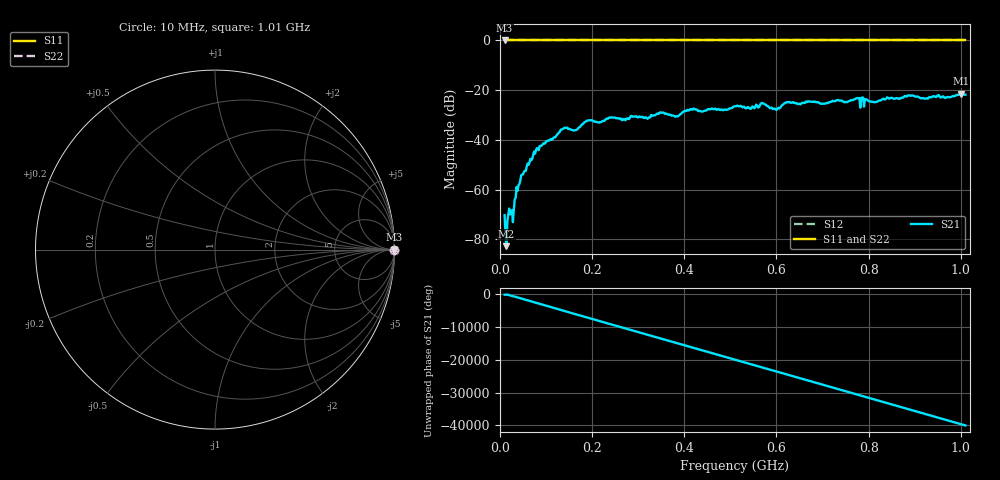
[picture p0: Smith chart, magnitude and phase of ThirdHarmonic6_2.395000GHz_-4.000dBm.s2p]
! 8/17/2025 3:54:33 AM
! C:\ANRITSUVNA\TEMP\TEMP.S2P
! CHANNEL.1
! TR.MEASUREMENT
! RAW.DATA
! RF.CORRECTION.OFF
! AVERAGING.OFF
! IF.BANDWIDTH: 5KHZ
! SWEEPTYPE:  FREQ.SWEEP(Linear)
! Reference Plane Port Info
! PORT:  PORT1  PORT2
! DISTANCE:  0  m  0  m
! TIME:  0  s  0  s
! PHASE.OFFSET:  0  deg.  0  deg.
! LOSS:  0  dB  0  dB
! REF.LOSS:  0  dB  0  dB
! REF.FREQ:  0  Hz  0  Hz
! Power Info
! POWER:  -20  dBm  -20  dBm
! EFF.POWER:  -20  dBm  -20  dBm
! SOURCE.ATTEN:  0  dB  0  dB
! TEST.ATTEN:  0  dB  0  dB
# GHZ S RI R 50.0
! FREQ.GHZ  S11RE  S11IM  S21RE  S21IM  S12RE  S12IM  S22RE  S22IM
!; PortSelection: Port_12
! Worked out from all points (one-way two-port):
!   501 points, 10 MHz to 1.01 GHz, reference 50 ohm
!   highest |S21| = -21.38 dB at 1 GHz (marker M1); lowest = -82.7 dB at 14 MHz (marker M2)
!   lowest |S11| = 0.0 dB at 10 MHz (marker M3)
!   |S11| at or under -10 dB: nowhere
!   |S22| runs from 0.0 to 0.0 dB; largest |S21 - S12| = 1.1
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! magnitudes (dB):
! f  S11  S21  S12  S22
! 10 MHz  0.0  -70.3  0.0  0.0
! 14 MHz  0.0  -82.7  0.0  0.0
! 22 MHz  0.0  -69.9  0.0  0.0
! 26 MHz  0.0  -68.3  0.0  0.0
! 36 MHz  0.0  -58.9  0.0  0.0
! 48 MHz  0.0  -53.9  0.0  0.0
! 78 MHz  0.0  -44.2  0.0  0.0
! 136 MHz  0.0  -35.7  0.0  0.0
! 164 MHz  0.0  -36.0  0.0  0.0
! 178 MHz  0.0  -33.7  0.0  0.0
! 194 MHz  0.0  -32.1  0.0  0.0
! 344 MHz  0.0  -29.5  0.0  0.0
! 384 MHz  0.0  -30.5  0.0  0.0
! 416 MHz  0.0  -27.9  0.0  0.0
! 510 MHz  0.0  -26.5  0.0  0.0
! 570 MHz  0.0  -25.2  0.0  0.0
! 598 MHz  0.0  -27.7  0.0  0.0
! 624 MHz  0.0  -24.8  0.0  0.0
! 678 MHz  0.0  -24.6  0.0  0.0
! 844 MHz  0.0  -23.3  0.0  0.0
! 1 GHz  0.0  -21.4  0.0  0.0
! 1.01 GHz  0.0  -21.8  0.0  0.0
